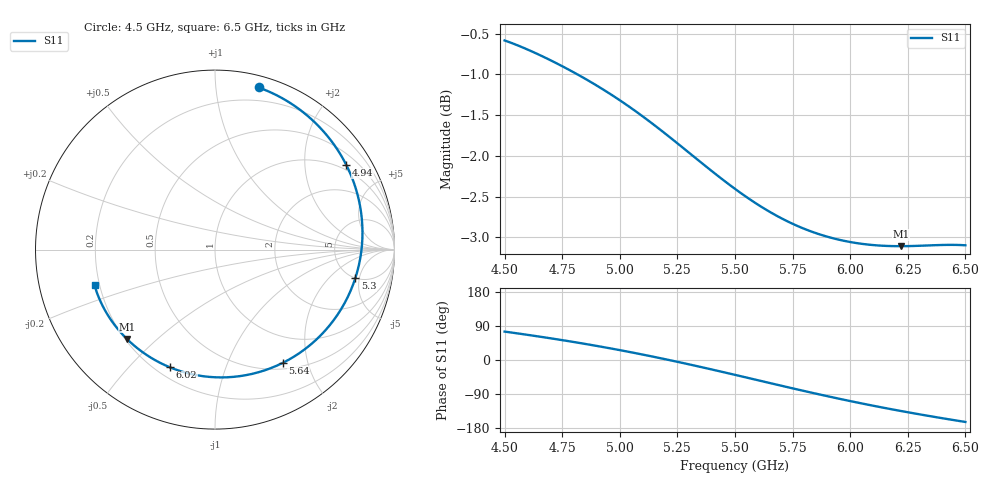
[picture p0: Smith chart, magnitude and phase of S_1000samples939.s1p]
! TOUCHSTONE file generated by CST MICROWAVE STUDIO
! Date and time: Sat Oct 29 21:05:35 2022
! Project name: L.cst
! Parameters = {Di=1.27; Epsilon_r=1.56; InnerDiameter=1.27; Length=2; Lf=10; Lg=60; OuterConductorThickness=0.2921; OuterDiameter=3.6; Wf=3; Wp=41.2; de=1.5; df=6.8; g=0.8; gx=1.84931; gy=1.34595; h=2.34; hf=1.524; px=8.87802; py=8.48517; w=9.7; wx=7.02872; wy=7.13923}
! Header version: 2018
! Port assignment regex: !\s*Touchstone port\s*([0-9]+)\s*=\s*(CST MWS port|CST DS port)\s*([0-9]+|Zmin|Zmax)\s*\(\"(.*)\"\)(\s*mode\s*([0-9]+))?.*
! Touchstone port assignment:
! Touchstone port 1 = CST MWS port 1 ("")
# GHz S DB R 50
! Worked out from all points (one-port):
!   101 points, 4.5 GHz to 6.5 GHz, reference 50 ohm
!   lowest |S11| = -3.1 dB at 6.22 GHz (marker M1), VSWR 5.64, Z = 10.4 - j20.2 ohm
!   |S11| at or under -10 dB: nowhere
!   S11 on the Smith chart (normalised r, x): 4.5 GHz: 0.09, +1.30; 4.94 GHz: 0.82, +3.21; 5.3 GHz: 5.01, -4.36; 5.64 GHz: 0.58, -1.60; 6.02 GHz: 0.25, -0.66; 6.5 GHz: 0.18, -0.14
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4.5  -0.58 75.0
4.58  -0.67 68.1
4.64  -0.74 62.7
4.76  -0.91 51.4
4.84  -1.04 43.4
4.94  -1.21 32.8
5  -1.32 26.0
5.08  -1.47 16.7
5.14  -1.60 9.3
5.2  -1.73 1.7
5.26  -1.87 -6.1
5.3  -1.96 -11.4
5.4  -2.19 -25.1
5.5  -2.41 -39.2
5.58  -2.56 -50.6
5.64  -2.67 -59.2
5.7  -2.77 -67.7
5.76  -2.85 -76.2
5.82  -2.92 -84.5
5.88  -2.98 -92.7
5.94  -3.02 -100.6
6  -3.06 -108.4
6.02  -3.07 -110.9
6.12  -3.10 -123.1
6.22  -3.11 -134.6
6.26  -3.11 -139.0
6.38  -3.10 -151.6
6.5  -3.10 -163.5
